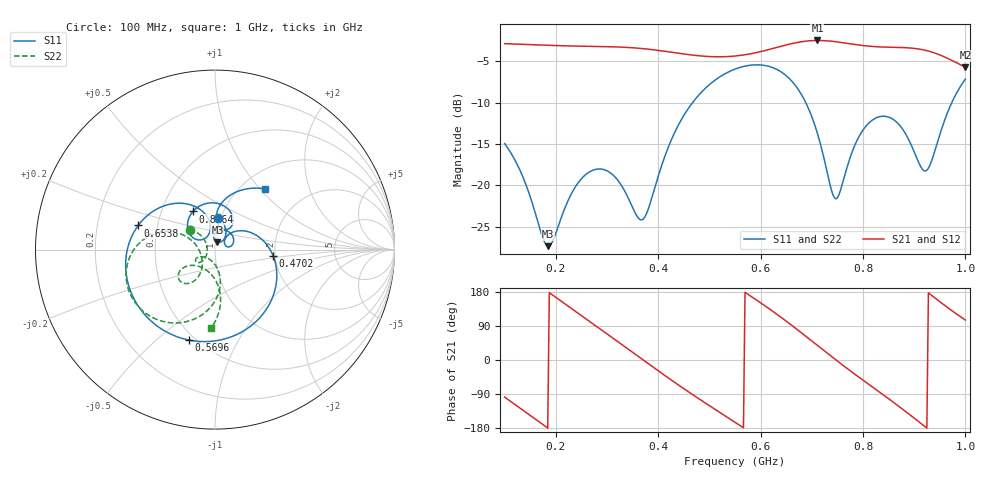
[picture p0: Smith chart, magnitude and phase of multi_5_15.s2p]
! Created with skrf (http://scikit-rf.org).
# MHz S RI R 376.73031366686166
!freq ReS11 ImS11 ReS21 ImS21 ReS12 ImS12 ReS22 ImS22
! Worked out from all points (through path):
!   300 points, 100 MHz to 1 GHz, reference 376.73 ohm
!   highest |S21| = -2.50 dB at 711 MHz (marker M1); lowest = -5.7 dB at 1 GHz (marker M2)
!   group delay of S21, straight-line fit = 2.69 ns
!   lowest |S11| = -27.3 dB at 184.3 MHz (marker M3), VSWR 1.09, Z = 386 + j31.6 ohm
!   |S11| at or under -10 dB: start of sweep to 467.1 MHz; 688.2 MHz to 973.4 MHz (285.3 MHz wide, 34.3 % of centre)
!   |S22| runs from -27.3 to -5.4 dB; largest |S21 - S12| = 3.8e-15
!   S11 on the Smith chart (normalised r, x): 100 MHz: 0.97, +0.36; 470.2 MHz: 1.95, -0.15; 569.6 MHz: 0.46, -0.64; 653.8 MHz: 0.39, +0.13; 816.4 MHz: 0.72, +0.33; 1 GHz: 1.27, +1.06
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100  0.0161 0.1784  -0.0979 -0.7103  -0.0979 -0.7103  -0.142 0.1091
145.1505  0.0583 0.0745  -0.5558 -0.4391  -0.5558 -0.4391  -0.0676 0.0662
184.2809  0.0133 0.041  -0.7008 -0.00674  -0.7008 -0.00674  -0.043 0.00132
250.5017  0.0268 0.107  -0.3127 0.6176  -0.3127 0.6176  -0.0841 -0.0713
292.6421  0.0944 0.0818  0.1657 0.6685  0.1657 0.6685  -0.1087 -0.0617
337.7926  0.0868 0.018  0.5776 0.3606  0.5776 0.3606  -0.0794 -0.0394
370.903  0.0535 0.033  0.6686 -0.00476  0.6686 -0.00476  -0.0261 -0.0571
401.0033  0.0785 0.0857  0.5674 -0.3216  0.5674 -0.3216  0.0175 -0.1149
470.2341  0.3236 -0.0334  -0.0426 -0.6085  -0.0426 -0.6085  -0.0275 -0.3241
509.3645  0.3052 -0.3001  -0.3743 -0.4662  -0.3743 -0.4662  -0.1528 -0.3998
551.505  0.0238 -0.5047  -0.5854 -0.1499  -0.5854 -0.1499  -0.3208 -0.3903
569.5652  -0.1446 -0.5043  -0.6143 0.017  -0.6143 0.017  -0.388 -0.353
614.7157  -0.4717 -0.2288  -0.4829 0.4482  -0.4829 0.4482  -0.492 -0.181
653.8462  -0.4279 0.1348  -0.1068 0.701  -0.1068 0.701  -0.4486 0.00473
702.0067  -0.0952 0.2316  0.5016 0.5553  0.5016 0.5553  -0.2305 0.0979
711.0368  -0.0552 0.1986  0.5889 0.4636  0.5889 0.4636  -0.1874 0.0859
747.1572  -0.0514 0.0653  0.736 -0.000641  0.736 -0.000641  -0.0786 -0.0269
816.388  -0.1226 0.2126  0.2454 -0.6453  0.2454 -0.6453  -0.156 -0.1895
852.5084  0.0186 0.2561  -0.1724 -0.6599  -0.1724 -0.6599  -0.2044 -0.1553
921.7391  0.0424 0.1147  -0.6527 -0.0402  -0.6527 -0.0402  -0.0593 -0.1069
960.8696  0.0319 0.2524  -0.472 0.3593  -0.472 0.3593  0.0295 -0.2527
1000  0.2769 0.339  -0.1374 0.4978  -0.1374 0.4978  -0.0217 -0.4371
